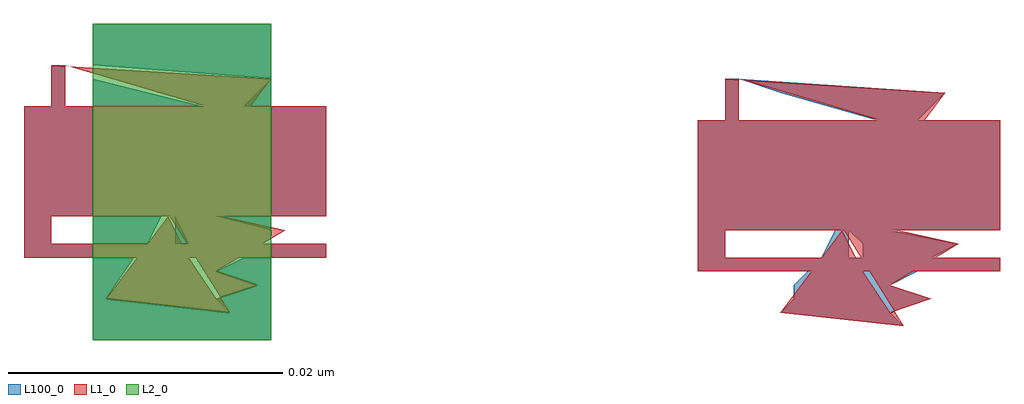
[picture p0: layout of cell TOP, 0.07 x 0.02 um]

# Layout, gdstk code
import gdstk
lib = gdstk.Library(unit=1e-6, precision=1e-09)
def R(c, l, rs):  # rectangles x0, y0, x1, y1
    for r in rs: c.add(gdstk.rectangle(r[:2], r[2:], *l))
def P(c, l, *ps):  # polygons
    for p in ps: c.add(gdstk.Polygon(p, *l))
L1_0 = (1, 0)
L2_0 = (2, 0)
L100_0 = (100, 0)

top = lib.new_cell('TOP')
P(top, L1_0, [(0.402,0.729),(0.402,0.74),(0.424,0.74),(0.424,0.732),(0.404,0.732),(0.404,0.73),(0.424,0.73),(0.424,0.729)],
  [(0.353,0.73),(0.353,0.741),(0.375,0.741),(0.375,0.733),(0.355,0.733),(0.355,0.731),(0.375,0.731),(0.375,0.73)],
  [(0.417,0.725),(0.412,0.733),(0.421,0.731),(0.416,0.728),(0.419,0.727),(0.416,0.726),(0.414,0.729),(0.411,0.735),(0.418,0.734),(0.417,0.736),(0.417,0.737),(0.422,0.738),(0.405,0.743),(0.405,0.738),(0.404,0.737),(0.405,0.737),(0.404,0.738),(0.404,0.743),(0.42,0.742),(0.408,0.726)],
  [(0.368,0.726),(0.363,0.734),(0.372,0.732),(0.367,0.729),(0.37,0.728),(0.367,0.727),(0.365,0.73),(0.362,0.736),(0.369,0.735),(0.368,0.737),(0.368,0.738),(0.373,0.739),(0.356,0.744),(0.356,0.739),(0.355,0.738),(0.356,0.738),(0.355,0.739),(0.355,0.744),(0.371,0.743),(0.359,0.727)])
R(top, L2_0, [(0.358,0.724,0.371,0.747)])
R(top, L100_0, [(0.358,0.724,0.371,0.726), (0.402,0.729,0.424,0.73), (0.353,0.73,0.358,0.731), (0.371,0.73,0.375,0.731), (0.402,0.73,0.404,0.732), (0.353,0.731,0.355,0.733), (0.402,0.732,0.424,0.74), (0.353,0.733,0.358,0.741), (0.371,0.733,0.375,0.741), (0.404,0.74,0.405,0.743), (0.355,0.741,0.356,0.744), (0.358,0.744,0.371,0.747)])
P(top, L100_0, [(0.358,0.727),(0.358,0.73),(0.361,0.73),(0.359,0.727)],
  [(0.411,0.73),(0.412,0.732),(0.413,0.732),(0.413,0.73)],
  [(0.371,0.743),(0.358,0.744),(0.371,0.744)],
  [(0.364,0.731),(0.364,0.733),(0.365,0.731)],
  [(0.371,0.732),(0.367,0.733),(0.371,0.733)],
  [(0.408,0.726),(0.409,0.727),(0.419,0.727),(0.416,0.726)],
  [(0.414,0.73),(0.414,0.731),(0.421,0.731),(0.419,0.73)],
  [(0.409,0.728),(0.41,0.729),(0.418,0.729),(0.416,0.728)],
  [(0.415,0.74),(0.408,0.742),(0.42,0.742),(0.418,0.74)],
  [(0.367,0.729),(0.369,0.73),(0.371,0.73),(0.371,0.729)],
  [(0.417,0.725),(0.408,0.726),(0.416,0.726)],
  [(0.369,0.741),(0.371,0.743),(0.371,0.741)],
  [(0.367,0.727),(0.37,0.728),(0.371,0.728),(0.371,0.727)],
  [(0.358,0.731),(0.358,0.733),(0.363,0.733),(0.362,0.731)],
  [(0.358,0.741),(0.358,0.743),(0.366,0.741)],
  [(0.37,0.728),(0.367,0.729),(0.371,0.729),(0.371,0.728)],
  [(0.414,0.731),(0.413,0.732),(0.416,0.732),(0.421,0.731)],
  [(0.368,0.726),(0.367,0.727),(0.371,0.727),(0.371,0.726)],
  [(0.409,0.727),(0.409,0.728),(0.416,0.728),(0.419,0.727)],
  [(0.358,0.726),(0.358,0.727),(0.359,0.727),(0.368,0.726)],
  [(0.408,0.742),(0.405,0.743),(0.42,0.742)])

lib.write_gds('TOP.gds')
